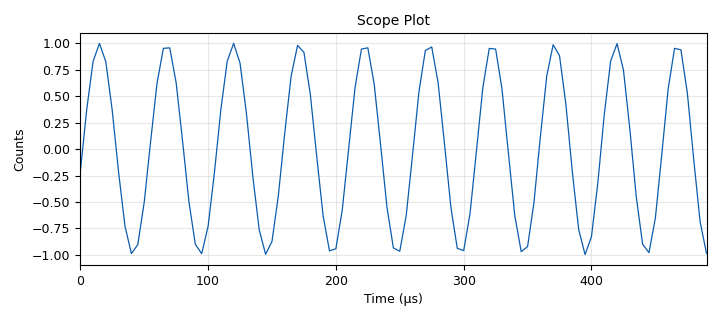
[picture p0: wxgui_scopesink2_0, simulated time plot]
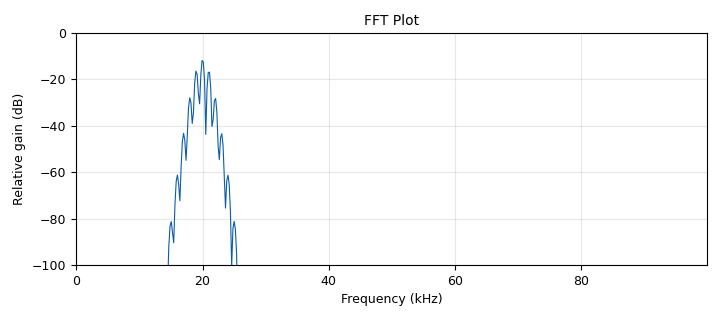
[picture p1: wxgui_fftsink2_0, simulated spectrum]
<?xml version='1.0' encoding='utf-8'?>
<flow_graph>
<block>
<key>options</key>
<param><key>id</key><value>top_block</value></param>
<param><key>generate_options</key><value>wx_gui</value></param>
<param><key>category</key><value>Custom</value></param>
</block>
<block>
<key>variable</key>
<param><key>id</key><value>samp_rate</value></param>
<param><key>value</key><value>200000</value></param>
</block>
<block>
<key>blocks_throttle</key>
<param><key>id</key><value>blocks_throttle_0</value></param>
<param><key>type</key><value>float</value></param>
<param><key>samples_per_second</key><value>samp_rate</value></param>
</block>
<block>
<key>variable_slider</key>
<param><key>id</key><value>sliderBeta</value></param>
<param><key>label</key><value></value></param>
<param><key>value</key><value>1</value></param>
<param><key>min</key><value>0</value></param>
<param><key>max</key><value>100</value></param>
<param><key>num_steps</key><value>100</value></param>
<param><key>style</key><value>wx.SL_HORIZONTAL</value></param>
<param><key>converver</key><value>float_converter</value></param>
</block>
<block>
<key>variable_slider</key>
<param><key>id</key><value>sliderFc</value></param>
<param><key>label</key><value></value></param>
<param><key>value</key><value>20000</value></param>
<param><key>min</key><value>0</value></param>
<param><key>max</key><value>100000</value></param>
<param><key>num_steps</key><value>100</value></param>
<param><key>style</key><value>wx.SL_HORIZONTAL</value></param>
<param><key>converver</key><value>float_converter</value></param>
</block>
<block>
<key>blocks_transcendental</key>
<param><key>id</key><value>blocks_transcendental_0_0</value></param>
<param><key>type</key><value>float</value></param>
<param><key>name</key><value>sin</value></param>
</block>
<block>
<key>analog_sig_source_x</key>
<param><key>id</key><value>analog_sig_source_x_0_0_0</value></param>
<param><key>type</key><value>float</value></param>
<param><key>samp_rate</key><value>samp_rate</value></param>
<param><key>waveform</key><value>analog.GR_COS_WAVE</value></param>
<param><key>freq</key><value>sliderFc</value></param>
<param><key>amp</key><value>1</value></param>
<param><key>offset</key><value>0</value></param>
</block>
<block>
<key>blocks_transcendental</key>
<param><key>id</key><value>blocks_transcendental_0</value></param>
<param><key>type</key><value>float</value></param>
<param><key>name</key><value>cos</value></param>
</block>
<block>
<key>analog_sig_source_x</key>
<param><key>id</key><value>analog_sig_source_x_0_0</value></param>
<param><key>type</key><value>float</value></param>
<param><key>samp_rate</key><value>samp_rate</value></param>
<param><key>waveform</key><value>analog.GR_SIN_WAVE</value></param>
<param><key>freq</key><value>sliderFc</value></param>
<param><key>amp</key><value>1</value></param>
<param><key>offset</key><value>0</value></param>
</block>
<block>
<key>blocks_multiply_const_vxx</key>
<param><key>id</key><value>Beta</value></param>
<param><key>type</key><value>float</value></param>
<param><key>const</key><value>sliderBeta</value></param>
</block>
<block>
<key>blocks_multiply_xx</key>
<param><key>id</key><value>blocks_multiply_xx_0_0</value></param>
<param><key>type</key><value>float</value></param>
</block>
<block>
<key>blocks_multiply_xx</key>
<param><key>id</key><value>blocks_multiply_xx_0</value></param>
<param><key>type</key><value>float</value></param>
</block>
<block>
<key>wxgui_scopesink2</key>
<param><key>id</key><value>wxgui_scopesink2_0</value></param>
<param><key>type</key><value>float</value></param>
<param><key>title</key><value>Scope Plot</value></param>
<param><key>samp_rate</key><value>samp_rate</value></param>
<param><key>v_scale</key><value>0</value></param>
<param><key>v_offset</key><value>0</value></param>
<param><key>t_scale</key><value>0</value></param>
<param><key>ac_couple</key><value>False</value></param>
<param><key>xy_mode</key><value>False</value></param>
<param><key>num_inputs</key><value>1</value></param>
<param><key>trig_mode</key><value>gr.gr_TRIG_MODE_AUTO</value></param>
<param><key>y_axis_label</key><value>Counts</value></param>
</block>
<block>
<key>blocks_sub_xx</key>
<param><key>id</key><value>blocks_sub_xx_0</value></param>
<param><key>type</key><value>float</value></param>
</block>
<block>
<key>wxgui_fftsink2</key>
<param><key>id</key><value>wxgui_fftsink2_0</value></param>
<param><key>type</key><value>float</value></param>
<param><key>title</key><value>FFT Plot</value></param>
<param><key>samp_rate</key><value>samp_rate</value></param>
<param><key>baseband_freq</key><value>0</value></param>
<param><key>y_per_div</key><value>10</value></param>
<param><key>y_divs</key><value>10</value></param>
<param><key>ref_level</key><value>0</value></param>
<param><key>ref_scale</key><value>2.0</value></param>
<param><key>fft_size</key><value>1024</value></param>
<param><key>fft_rate</key><value>15</value></param>
<param><key>peak_hold</key><value>False</value></param>
<param><key>average</key><value>False</value></param>
<param><key>avg_alpha</key><value>0</value></param>
<param><key>win</key><value>None</value></param>
<param><key>freqvar</key><value>None</value></param>
</block>
<block>
<key>blocks_integrate_xx</key>
<param><key>id</key><value>blocks_integrate_xx_0</value></param>
<param><key>type</key><value>float</value></param>
<param><key>decim</key><value>1</value></param>
</block>
<block>
<key>analog_sig_source_x</key>
<param><key>id</key><value>analog_sig_source_x_0</value></param>
<param><key>type</key><value>float</value></param>
<param><key>samp_rate</key><value>samp_rate</value></param>
<param><key>waveform</key><value>analog.GR_SIN_WAVE</value></param>
<param><key>freq</key><value>1000</value></param>
<param><key>amp</key><value>1</value></param>
<param><key>offset</key><value>0</value></param>
</block>
<connection><source_block_id>analog_sig_source_x_0</source_block_id><sink_block_id>blocks_throttle_0</sink_block_id><source_key>0</source_key><sink_key>0</sink_key></connection>
<connection><source_block_id>blocks_throttle_0</source_block_id><sink_block_id>blocks_integrate_xx_0</sink_block_id><source_key>0</source_key><sink_key>0</sink_key></connection>
<connection><source_block_id>blocks_integrate_xx_0</source_block_id><sink_block_id>Beta</sink_block_id><source_key>0</source_key><sink_key>0</sink_key></connection>
<connection><source_block_id>Beta</source_block_id><sink_block_id>blocks_transcendental_0</sink_block_id><source_key>0</source_key><sink_key>0</sink_key></connection>
<connection><source_block_id>Beta</source_block_id><sink_block_id>blocks_transcendental_0_0</sink_block_id><source_key>0</source_key><sink_key>0</sink_key></connection>
<connection><source_block_id>analog_sig_source_x_0_0</source_block_id><sink_block_id>blocks_multiply_xx_0</sink_block_id><source_key>0</source_key><sink_key>1</sink_key></connection>
<connection><source_block_id>blocks_transcendental_0_0</source_block_id><sink_block_id>blocks_multiply_xx_0</sink_block_id><source_key>0</source_key><sink_key>0</sink_key></connection>
<connection><source_block_id>analog_sig_source_x_0_0_0</source_block_id><sink_block_id>blocks_multiply_xx_0_0</sink_block_id><source_key>0</source_key><sink_key>0</sink_key></connection>
<connection><source_block_id>blocks_transcendental_0</source_block_id><sink_block_id>blocks_multiply_xx_0_0</sink_block_id><source_key>0</source_key><sink_key>1</sink_key></connection>
<connection><source_block_id>blocks_multiply_xx_0_0</source_block_id><sink_block_id>blocks_sub_xx_0</sink_block_id><source_key>0</source_key><sink_key>0</sink_key></connection>
<connection><source_block_id>blocks_multiply_xx_0</source_block_id><sink_block_id>blocks_sub_xx_0</sink_block_id><source_key>0</source_key><sink_key>1</sink_key></connection>
<connection><source_block_id>blocks_sub_xx_0</source_block_id><sink_block_id>wxgui_scopesink2_0</sink_block_id><source_key>0</source_key><sink_key>0</sink_key></connection>
<connection><source_block_id>blocks_sub_xx_0</source_block_id><sink_block_id>wxgui_fftsink2_0</sink_block_id><source_key>0</source_key><sink_key>0</sink_key></connection>
</flow_graph>
